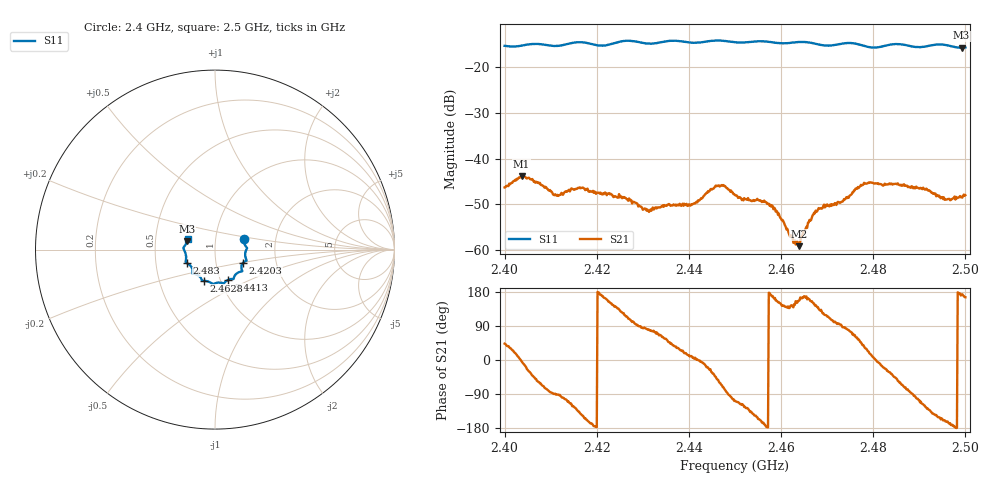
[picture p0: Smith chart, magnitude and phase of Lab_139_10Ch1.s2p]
# Hz S RI R 50
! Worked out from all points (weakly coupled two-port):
!   601 points, 2.4 GHz to 2.5 GHz, reference 50 ohm
!   highest |S21| = -43.83 dB at 2.4037 GHz (marker M1); lowest = -59.1 dB at 2.4638 GHz (marker M2)
!   lowest |S11| = -15.8 dB at 2.4992 GHz (marker M3), VSWR 1.39, Z = 36.4 + j3.54 ohm
!   |S11| at or under -10 dB: start of sweep to end of sweep
!   S12 and S22 are empty: the file has one direction only
!   S11 on the Smith chart (normalised r, x): 2.4 GHz: 1.37, +0.16; 2.4203 GHz: 1.35, -0.21; 2.4413 GHz: 1.09, -0.38; 2.4628 GHz: 0.83, -0.30; 2.483 GHz: 0.72, -0.11; 2.5 GHz: 0.73, +0.09
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2.4e9  0.1607 0.0568  0.00354 0.00332  0 0  0 0
2.403667e9  0.1699 0.0204  0.00643 -0.000344  0 0  0 0
2.411167e9  0.1682 -0.0228  -9.93e-05 -0.00398  0 0  0 0
2.416667e9  0.1761 -0.0615  -0.00389 -0.00282  0 0  0 0
2.420333e9  0.1553 -0.0743  -0.00423 0.000151  0 0  0 0
2.425667e9  0.1512 -0.1179  -0.00211 0.00319  0 0  0 0
2.431e9  0.1235 -0.1311  0.000423 0.00275  0 0  0 0
2.433333e9  0.108 -0.1485  0.00104 0.00274  0 0  0 0
2.441333e9  0.0743 -0.1682  0.00323 0.000339  0 0  0 0
2.446e9  0.0496 -0.1883  0.00326 -0.00378  0 0  0 0
2.45e9  0.0294 -0.1839  -0.00121 -0.00382  0 0  0 0
2.458167e9  -0.0243 -0.1843  -0.00299 0.000587  0 0  0 0
2.462833e9  -0.0629 -0.1745  -0.00101 0.000652  0 0  0 0
2.463833e9  -0.0679 -0.1748  -0.00102 0.000448  0 0  0 0
2.466667e9  -0.0743 -0.1674  -0.00206 0.00094  0 0  0 0
2.477833e9  -0.1245 -0.1175  0.00401 0.0033  0 0  0 0
2.483e9  -0.1548 -0.0766  0.00461 -0.00252  0 0  0 0
2.483333e9  -0.157 -0.0755  0.0045 -0.00274  0 0  0 0
2.491333e9  -0.167 -0.0136  -0.00257 -0.00381  0 0  0 0
2.495667e9  -0.1734 0.0146  -0.00343 -0.0011  0 0  0 0
2.499167e9  -0.1552 0.0473  -0.00379 0.00057  0 0  0 0
2.5e9  -0.1527 0.0586  -0.00387 0.000998  0 0  0 0
